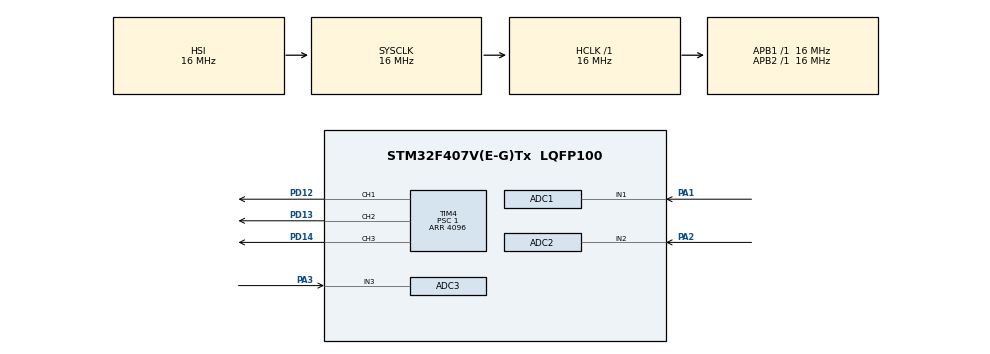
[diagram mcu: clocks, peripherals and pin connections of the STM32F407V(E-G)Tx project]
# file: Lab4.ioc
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ADC1.Channel-0\#ChannelRegularConversion=ADC_CHANNEL_1
ADC1.ClockPrescaler=ADC_CLOCK_SYNC_PCLK_DIV8
ADC1.NbrOfConversion=1
ADC1.NbrOfConversionFlag=1
ADC1.Rank-0\#ChannelRegularConversion=1
ADC1.SamplingTime-0\#ChannelRegularConversion=ADC_SAMPLETIME_3CYCLES
ADC1.master=1
ADC2.Channel-0\#ChannelRegularConversion=ADC_CHANNEL_2
ADC2.ClockPrescaler=ADC_CLOCK_SYNC_PCLK_DIV8
ADC2.NbrOfConversionFlag=1
ADC2.Rank-0\#ChannelRegularConversion=1
ADC2.SamplingTime-0\#ChannelRegularConversion=ADC_SAMPLETIME_3CYCLES
ADC3.Channel-0\#ChannelRegularConversion=ADC_CHANNEL_3
ADC3.ClockPrescaler=ADC_CLOCK_SYNC_PCLK_DIV8
ADC3.NbrOfConversionFlag=1
ADC3.Rank-0\#ChannelRegularConversion=1
ADC3.SamplingTime-0\#ChannelRegularConversion=ADC_SAMPLETIME_3CYCLES
Mcu.Family=STM32F4
Mcu.Name=STM32F407V(E-G)Tx
Mcu.Package=LQFP100
NVIC.ADC_IRQn=true\:0\:0\:false\:false\:true\:true\:true\:true
NVIC.PriorityGroup=NVIC_PRIORITYGROUP_4
PA1.Signal=ADCx_IN1
PA2.Signal=ADCx_IN2
PA3.Signal=ADCx_IN3
PD12.Signal=S_TIM4_CH1
PD13.Signal=S_TIM4_CH2
PD14.Signal=S_TIM4_CH3
ProjectManager.HeapSize=0x200
ProjectManager.StackSize=0x400
ProjectManager.TargetToolchain=STM32CubeIDE
RCC.AHBFreq_Value=16000000
RCC.APB1Freq_Value=16000000
RCC.APB2Freq_Value=16000000
RCC.CortexFreq_Value=16000000
RCC.HSE_VALUE=25000000
RCC.HSI_VALUE=16000000
RCC.LSE_VALUE=32768
RCC.SYSCLKFreq_VALUE=16000000
RCC.VCOOutputFreq_Value=192000000
SH.ADCx_IN1.0=ADC1_IN1,IN1
SH.ADCx_IN2.0=ADC2_IN2,IN2
SH.ADCx_IN3.0=ADC3_IN3,IN3
SH.S_TIM4_CH1.0=TIM4_CH1,PWM Generation1 CH1
SH.S_TIM4_CH2.0=TIM4_CH2,PWM Generation2 CH2
SH.S_TIM4_CH3.0=TIM4_CH3,PWM Generation3 CH3
TIM4.Channel-PWM\ Generation1\ CH1=TIM_CHANNEL_1
TIM4.Channel-PWM\ Generation2\ CH2=TIM_CHANNEL_2
TIM4.Channel-PWM\ Generation3\ CH3=TIM_CHANNEL_3
TIM4.CounterMode=TIM_COUNTERMODE_UP
TIM4.Period=4096
TIM4.Prescaler=1
VP_TIM4_VS_ClockSourceINT.Mode=Internal
board=custom

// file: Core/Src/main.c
/* USER CODE BEGIN Header */
/**
  ******************************************************************************
  * @file           : main.c
  * @brief          : Main program body
  ******************************************************************************
  * @attention
  *
  * Copyright (c) 2024 STMicroelectronics.
  * All rights reserved.
  *
  * This software is licensed under terms that can be found in the LICENSE file
  * in the root directory of this software component.
  * If no LICENSE file comes with this software, it is provided AS-IS.
  *
  ******************************************************************************
  */
/* USER CODE END Header */
#include "main.h"

/* USER CODE BEGIN PD */
#define MAX_ADC_VALUE 4096
/* USER CODE END PD */

ADC_HandleTypeDef hadc1;
ADC_HandleTypeDef hadc2;
ADC_HandleTypeDef hadc3;

TIM_HandleTypeDef htim4;

void SystemClock_Config(void);
static void MX_GPIO_Init(void);
static void MX_ADC1_Init(void);
static void MX_TIM4_Init(void);
static void MX_ADC2_Init(void);
static void MX_ADC3_Init(void);

/* USER CODE BEGIN 0 */

void update(ADC_HandleTypeDef *hadc, volatile uint32_t *ccr, volatile uint32_t *arr) {
  uint32_t value;

  HAL_ADC_Start(hadc);

  if (HAL_ADC_PollForConversion(hadc, 10) == HAL_OK)
    value = HAL_ADC_GetValue(hadc);
  else
    return;

  if (value < 30)
    value = 0;

  *ccr = value * (*arr) / MAX_ADC_VALUE;
}

/* USER CODE END 0 */

int main(void)
{

  /* MCU Configuration--------------------------------------------------------*/

  /* Reset of all peripherals, Initializes the Flash interface and the Systick. */
  HAL_Init();

  /* Configure the system clock */
  SystemClock_Config();

  /* Initialize all configured peripherals */
  MX_GPIO_Init();
  MX_ADC1_Init();
  MX_TIM4_Init();
  MX_ADC2_Init();
  MX_ADC3_Init();
  /* USER CODE BEGIN 2 */

  HAL_TIM_PWM_Start(&htim4, TIM_CHANNEL_1);
  HAL_TIM_PWM_Start(&htim4, TIM_CHANNEL_2);
  HAL_TIM_PWM_Start(&htim4, TIM_CHANNEL_3);

  /* USER CODE END 2 */

  /* Infinite loop */
  /* USER CODE BEGIN WHILE */
  while (1)
  {
    update(&hadc1, &TIM4->CCR1, &TIM4->ARR);
    update(&hadc2, &TIM4->CCR2, &TIM4->ARR);
    update(&hadc3, &TIM4->CCR3, &TIM4->ARR);
    /* USER CODE END WHILE */

  }
}

void SystemClock_Config(void)
{
  RCC_OscInitTypeDef RCC_OscInitStruct = {0};
  RCC_ClkInitTypeDef RCC_ClkInitStruct = {0};

  /** Configure the main internal regulator output voltage
  */
  __HAL_RCC_PWR_CLK_ENABLE();
  __HAL_PWR_VOLTAGESCALING_CONFIG(PWR_REGULATOR_VOLTAGE_SCALE1);

  /** Initializes the RCC Oscillators according to the specified parameters
  * in the RCC_OscInitTypeDef structure.
  */
  RCC_OscInitStruct.OscillatorType = RCC_OSCILLATORTYPE_HSI;
  RCC_OscInitStruct.HSIState = RCC_HSI_ON;
  RCC_OscInitStruct.HSICalibrationValue = RCC_HSICALIBRATION_DEFAULT;
  RCC_OscInitStruct.PLL.PLLState = RCC_PLL_NONE;
  if (HAL_RCC_OscConfig(&RCC_OscInitStruct) != HAL_OK)
  {
    Error_Handler();
  }

  /** Initializes the CPU, AHB and APB buses clocks
  */
  RCC_ClkInitStruct.ClockType = RCC_CLOCKTYPE_HCLK|RCC_CLOCKTYPE_SYSCLK
                              |RCC_CLOCKTYPE_PCLK1|RCC_CLOCKTYPE_PCLK2;
  RCC_ClkInitStruct.SYSCLKSource = RCC_SYSCLKSOURCE_HSI;
  RCC_ClkInitStruct.AHBCLKDivider = RCC_SYSCLK_DIV1;
  RCC_ClkInitStruct.APB1CLKDivider = RCC_HCLK_DIV1;
  RCC_ClkInitStruct.APB2CLKDivider = RCC_HCLK_DIV1;

  if (HAL_RCC_ClockConfig(&RCC_ClkInitStruct, FLASH_LATENCY_0) != HAL_OK)
  {
    Error_Handler();
  }
}

static void MX_ADC1_Init(void)
{

  ADC_ChannelConfTypeDef sConfig = {0};

  /** Configure the global features of the ADC (Clock, Resolution, Data Alignment and number of conversion)
  */
  hadc1.Instance = ADC1;
  hadc1.Init.ClockPrescaler = ADC_CLOCK_SYNC_PCLK_DIV8;
  hadc1.Init.Resolution = ADC_RESOLUTION_12B;
  hadc1.Init.ScanConvMode = DISABLE;
  hadc1.Init.ContinuousConvMode = DISABLE;
  hadc1.Init.DiscontinuousConvMode = DISABLE;
  hadc1.Init.ExternalTrigConvEdge = ADC_EXTERNALTRIGCONVEDGE_NONE;
  hadc1.Init.ExternalTrigConv = ADC_SOFTWARE_START;
  hadc1.Init.DataAlign = ADC_DATAALIGN_RIGHT;
  hadc1.Init.NbrOfConversion = 1;
  hadc1.Init.DMAContinuousRequests = DISABLE;
  hadc1.Init.EOCSelection = ADC_EOC_SINGLE_CONV;
  if (HAL_ADC_Init(&hadc1) != HAL_OK)
  {
    Error_Handler();
  }

  /** Configure for the selected ADC regular channel its corresponding rank in the sequencer and its sample time.
  */
  sConfig.Channel = ADC_CHANNEL_1;
  sConfig.Rank = 1;
  sConfig.SamplingTime = ADC_SAMPLETIME_3CYCLES;
  if (HAL_ADC_ConfigChannel(&hadc1, &sConfig) != HAL_OK)
  {
    Error_Handler();
  }

}

static void MX_ADC2_Init(void)
{

  ADC_ChannelConfTypeDef sConfig = {0};

  /** Configure the global features of the ADC (Clock, Resolution, Data Alignment and number of conversion)
  */
  hadc2.Instance = ADC2;
  hadc2.Init.ClockPrescaler = ADC_CLOCK_SYNC_PCLK_DIV8;
  hadc2.Init.Resolution = ADC_RESOLUTION_12B;
  hadc2.Init.ScanConvMode = DISABLE;
  hadc2.Init.ContinuousConvMode = DISABLE;
  hadc2.Init.DiscontinuousConvMode = DISABLE;
  hadc2.Init.ExternalTrigConvEdge = ADC_EXTERNALTRIGCONVEDGE_NONE;
  hadc2.Init.ExternalTrigConv = ADC_SOFTWARE_START;
  hadc2.Init.DataAlign = ADC_DATAALIGN_RIGHT;
  hadc2.Init.NbrOfConversion = 1;
  hadc2.Init.DMAContinuousRequests = DISABLE;
  hadc2.Init.EOCSelection = ADC_EOC_SINGLE_CONV;
  if (HAL_ADC_Init(&hadc2) != HAL_OK)
  {
    Error_Handler();
  }

  /** Configure for the selected ADC regular channel its corresponding rank in the sequencer and its sample time.
  */
  sConfig.Channel = ADC_CHANNEL_2;
  sConfig.Rank = 1;
  sConfig.SamplingTime = ADC_SAMPLETIME_3CYCLES;
  if (HAL_ADC_ConfigChannel(&hadc2, &sConfig) != HAL_OK)
  {
    Error_Handler();
  }

}

static void MX_ADC3_Init(void)
{

  ADC_ChannelConfTypeDef sConfig = {0};

  /** Configure the global features of the ADC (Clock, Resolution, Data Alignment and number of conversion)
  */
  hadc3.Instance = ADC3;
  hadc3.Init.ClockPrescaler = ADC_CLOCK_SYNC_PCLK_DIV8;
  hadc3.Init.Resolution = ADC_RESOLUTION_12B;
  hadc3.Init.ScanConvMode = DISABLE;
  hadc3.Init.ContinuousConvMode = DISABLE;
  hadc3.Init.DiscontinuousConvMode = DISABLE;
  hadc3.Init.ExternalTrigConvEdge = ADC_EXTERNALTRIGCONVEDGE_NONE;
  hadc3.Init.ExternalTrigConv = ADC_SOFTWARE_START;
  hadc3.Init.DataAlign = ADC_DATAALIGN_RIGHT;
  hadc3.Init.NbrOfConversion = 1;
  hadc3.Init.DMAContinuousRequests = DISABLE;
  hadc3.Init.EOCSelection = ADC_EOC_SINGLE_CONV;
  if (HAL_ADC_Init(&hadc3) != HAL_OK)
  {
    Error_Handler();
  }

  /** Configure for the selected ADC regular channel its corresponding rank in the sequencer and its sample time.
  */
  sConfig.Channel = ADC_CHANNEL_3;
  sConfig.Rank = 1;
  sConfig.SamplingTime = ADC_SAMPLETIME_3CYCLES;
  if (HAL_ADC_ConfigChannel(&hadc3, &sConfig) != HAL_OK)
  {
    Error_Handler();
  }

}

static void MX_TIM4_Init(void)
{

  TIM_ClockConfigTypeDef sClockSourceConfig = {0};
  TIM_MasterConfigTypeDef sMasterConfig = {0};
  TIM_OC_InitTypeDef sConfigOC = {0};

  htim4.Instance = TIM4;
  htim4.Init.Prescaler = 1;
  htim4.Init.CounterMode = TIM_COUNTERMODE_UP;
  htim4.Init.Period = 4096;
  htim4.Init.ClockDivision = TIM_CLOCKDIVISION_DIV1;
  htim4.Init.AutoReloadPreload = TIM_AUTORELOAD_PRELOAD_DISABLE;
  if (HAL_TIM_Base_Init(&htim4) != HAL_OK)
  {
    Error_Handler();
  }
  sClockSourceConfig.ClockSource = TIM_CLOCKSOURCE_INTERNAL;
  if (HAL_TIM_ConfigClockSource(&htim4, &sClockSourceConfig) != HAL_OK)
  {
    Error_Handler();
  }
  if (HAL_TIM_PWM_Init(&htim4) != HAL_OK)
  {
    Error_Handler();
  }
  sMasterConfig.MasterOutputTrigger = TIM_TRGO_RESET;
  sMasterConfig.MasterSlaveMode = TIM_MASTERSLAVEMODE_DISABLE;
  if (HAL_TIMEx_MasterConfigSynchronization(&htim4, &sMasterConfig) != HAL_OK)
  {
    Error_Handler();
  }
  sConfigOC.OCMode = TIM_OCMODE_PWM1;
  sConfigOC.Pulse = 0;
  sConfigOC.OCPolarity = TIM_OCPOLARITY_HIGH;
  sConfigOC.OCFastMode = TIM_OCFAST_DISABLE;
  if (HAL_TIM_PWM_ConfigChannel(&htim4, &sConfigOC, TIM_CHANNEL_1) != HAL_OK)
  {
    Error_Handler();
  }
  if (HAL_TIM_PWM_ConfigChannel(&htim4, &sConfigOC, TIM_CHANNEL_2) != HAL_OK)
  {
    Error_Handler();
  }
  if (HAL_TIM_PWM_ConfigChannel(&htim4, &sConfigOC, TIM_CHANNEL_3) != HAL_OK)
  {
    Error_Handler();
  }
  HAL_TIM_MspPostInit(&htim4);

}

static void MX_GPIO_Init(void)
{

  /* GPIO Ports Clock Enable */
  __HAL_RCC_GPIOA_CLK_ENABLE();
  __HAL_RCC_GPIOD_CLK_ENABLE();

}

void Error_Handler(void)
{
  __disable_irq();
  while (1)
  {
  }
}
